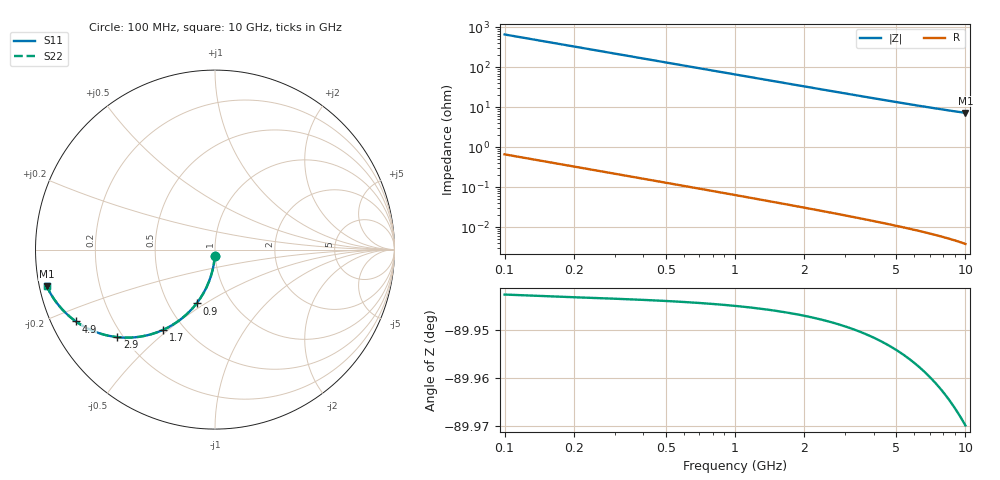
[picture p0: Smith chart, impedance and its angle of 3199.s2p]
# Hz S RI R 50.00
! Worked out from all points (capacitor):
!   100 points, 100 MHz to 10 GHz, reference 50 ohm
!   read as one part in shunt: C = 2.39 pF near 100 MHz
!   lowest |Z| = 7.27 ohm at 10 GHz (marker M1)
!   S11 on the Smith chart (normalised r, x): 100 MHz: 0.99, -0.07; 900 MHz: 0.69, -0.46; 1.7 GHz: 0.38, -0.48; 2.9 GHz: 0.18, -0.37; 4.9 GHz: 0.07, -0.24; 10 GHz: 0.02, -0.11
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1e8  -0.00132 -0.0372  0.9984 -0.0378  0.9984 -0.0378  -0.00132 -0.0372
2e8  -0.00556 -0.074  0.9942 -0.0754  0.9942 -0.0754  -0.00556 -0.074
3e8  -0.0125 -0.1103  0.9872 -0.1123  0.9872 -0.1123  -0.0125 -0.1103
4e8  -0.0221 -0.1456  0.9777 -0.1482  0.9777 -0.1482  -0.0221 -0.1456
5e8  -0.0341 -0.1797  0.9656 -0.1831  0.9656 -0.1831  -0.0341 -0.1797
6e8  -0.0484 -0.2124  0.9513 -0.2164  0.9513 -0.2164  -0.0484 -0.2124
7e8  -0.0648 -0.2435  0.935 -0.2482  0.935 -0.2482  -0.0648 -0.2435
9e8  -0.1027 -0.3003  0.897 -0.3063  0.897 -0.3063  -0.1027 -0.3003
1.1e9  -0.1461 -0.3491  0.8536 -0.3565  0.8536 -0.3565  -0.1461 -0.3491
1.3e9  -0.1929 -0.3898  0.8068 -0.3985  0.8068 -0.3985  -0.1929 -0.3898
1.7e9  -0.2902 -0.4477  0.7095 -0.4591  0.7095 -0.4591  -0.2902 -0.4477
1.8e9  -0.3143 -0.4578  0.6853 -0.4698  0.6853 -0.4698  -0.3143 -0.4578
2.3e9  -0.4283 -0.4866  0.5713 -0.5021  0.5713 -0.5021  -0.4283 -0.4866
2.9e9  -0.5441 -0.4877  0.4554 -0.5073  0.4554 -0.5073  -0.5441 -0.4877
3.4e9  -0.6218 -0.4729  0.3777 -0.4959  0.3777 -0.4959  -0.6218 -0.4729
4.1e9  -0.7058 -0.4411  0.2936 -0.4689  0.2936 -0.4689  -0.7058 -0.4411
4.9e9  -0.7749 -0.4001  0.2243 -0.4336  0.2243 -0.4336  -0.7749 -0.4001
5.1e9  -0.7887 -0.3899  0.2104 -0.4248  0.2104 -0.4248  -0.7887 -0.3899
5.8e9  -0.8291 -0.3554  0.1698 -0.3953  0.1698 -0.3953  -0.8291 -0.3554
6.7e9  -0.867 -0.315  0.1316 -0.3614  0.1316 -0.3614  -0.867 -0.315
8.4e9  -0.9122 -0.2513  0.0857 -0.3104  0.0857 -0.3104  -0.9122 -0.2513
1e10  -0.9372 -0.2035  0.0599 -0.2751  0.0599 -0.2751  -0.9372 -0.2035
